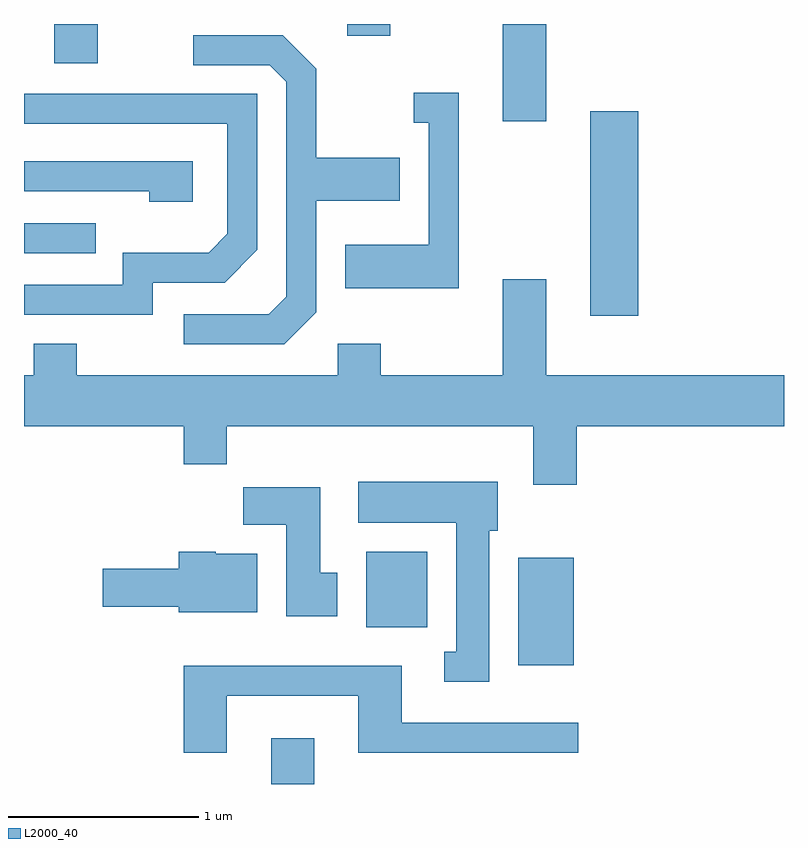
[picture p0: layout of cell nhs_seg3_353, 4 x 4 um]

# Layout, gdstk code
import gdstk
lib = gdstk.Library(unit=1e-6, precision=1e-09)
def R(c, l, rs):  # rectangles x0, y0, x1, y1
    for r in rs: c.add(gdstk.rectangle(r[:2], r[2:], *l))
def P(c, l, *ps):  # polygons
    for p in ps: c.add(gdstk.Polygon(p, *l))
L2000_40 = (2000, 40)

nhs_seg3_353 = lib.new_cell('nhs_seg3_353')
R(nhs_seg3_353, L2000_40, [(196.911,1141.892,197.139,1142.134), (198.211,1142.516,198.504,1143.084), (197.411,1142.716,197.734,1143.114), (198.591,1144.356,198.844,1145.434), (195.611,1144.686,195.988,1144.844), (198.131,1145.381,198.359,1145.892), (195.771,1145.686,195.999,1145.892), (197.311,1145.831,197.539,1145.892)])
P(nhs_seg3_353, L2000_40, [(197.149,1144.374),(197.149,1144.961),(197.589,1144.961),(197.589,1145.189),(197.149,1145.189),(197.149,1145.657),(196.972,1145.834),(196.503,1145.834),(196.503,1145.676),(196.904,1145.676),(196.991,1145.589),(196.991,1144.457),(196.899,1144.364),(196.453,1144.364),(196.453,1144.206),(196.982,1144.206)],
  [(197.899,1145.529),(197.663,1145.529),(197.663,1145.371),(197.741,1145.371),(197.741,1144.729),(197.301,1144.729),(197.301,1144.501),(197.899,1144.501)],
  [(196.289,1144.531),(196.667,1144.531),(196.839,1144.704),(196.839,1145.524),(195.611,1145.524),(195.611,1145.366),(196.681,1145.366),(196.681,1144.787),(196.584,1144.689),(196.131,1144.689),(196.131,1144.519),(195.611,1144.519),(195.611,1144.361),(196.289,1144.361)],
  [(196.499,1145.169),(195.611,1145.169),(195.611,1145.011),(196.271,1145.011),(196.271,1144.956),(196.499,1144.956)],
  [(198.519,1143.776),(199.611,1143.776),(199.611,1144.044),(198.359,1144.044),(198.359,1144.549),(198.131,1144.549),(198.131,1144.044),(197.489,1144.044),(197.489,1144.209),(197.261,1144.209),(197.261,1144.044),(195.889,1144.044),(195.889,1144.209),(195.661,1144.209),(195.661,1144.044),(195.611,1144.044),(195.611,1143.776),(196.451,1143.776),(196.451,1143.576),(196.679,1143.576),(196.679,1143.776),(198.291,1143.776),(198.291,1143.466),(198.519,1143.466)],
  [(198.059,1143.226),(198.104,1143.226),(198.104,1143.484),(197.371,1143.484),(197.371,1143.266),(197.886,1143.266),(197.886,1142.589),(197.823,1142.589),(197.823,1142.431),(198.059,1142.431)],
  [(197.259,1143.004),(197.169,1143.004),(197.169,1143.454),(196.766,1143.454),(196.766,1143.256),(196.991,1143.256),(196.991,1142.776),(197.259,1142.776)],
  [(196.839,1143.104),(196.62,1143.104),(196.62,1143.114),(196.426,1143.114),(196.426,1143.024),(196.026,1143.024),(196.026,1142.826),(196.426,1142.826),(196.426,1142.796),(196.839,1142.796)],
  [(196.679,1142.356),(197.371,1142.356),(197.371,1142.056),(198.528,1142.056),(198.528,1142.214),(197.599,1142.214),(197.599,1142.514),(196.451,1142.514),(196.451,1142.056),(196.679,1142.056)])

lib.write_gds('nhs_seg3_353.gds')
